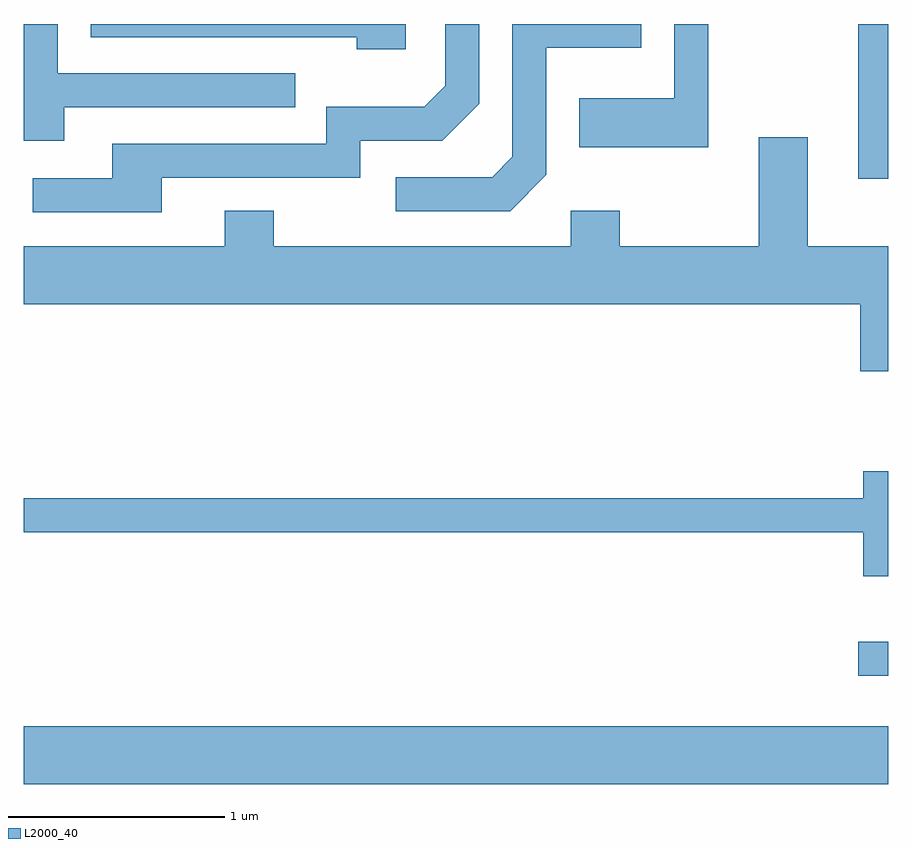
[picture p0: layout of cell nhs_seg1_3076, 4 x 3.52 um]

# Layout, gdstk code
import gdstk
lib = gdstk.Library(unit=1e-6, precision=1e-09)
def R(c, l, rs):  # rectangles x0, y0, x1, y1
    for r in rs: c.add(gdstk.rectangle(r[:2], r[2:], *l))
def P(c, l, *ps):  # polygons
    for p in ps: c.add(gdstk.Polygon(p, *l))
L2000_40 = (2000, 40)

nhs_seg1_3076 = lib.new_cell('nhs_seg1_3076')
R(nhs_seg1_3076, L2000_40, [(277.611,946.196,281.611,946.464), (281.473,946.696,281.611,946.854), (281.471,948.996,281.611,949.712)])
P(nhs_seg1_3076, L2000_40, [(278.249,949.001),(279.169,949.001),(279.169,949.171),(279.547,949.171),(279.719,949.344),(279.719,949.712),(279.561,949.712),(279.561,949.427),(279.464,949.329),(279.011,949.329),(279.011,949.159),(278.021,949.159),(278.021,948.999),(277.653,948.999),(277.653,948.841),(278.249,948.841)],
  [(277.799,949.326),(278.868,949.326),(278.868,949.484),(277.769,949.484),(277.769,949.712),(277.611,949.712),(277.611,949.171),(277.799,949.171)],
  [(280.029,949.014),(280.029,949.601),(280.469,949.601),(280.469,949.712),(279.871,949.712),(279.871,949.097),(279.779,949.004),(279.333,949.004),(279.333,948.846),(279.862,948.846)],
  [(280.779,949.712),(280.621,949.712),(280.621,949.369),(280.181,949.369),(280.181,949.141),(280.779,949.141)],
  [(279.379,949.712),(277.921,949.712),(277.921,949.651),(279.151,949.651),(279.151,949.596),(279.379,949.596)],
  [(281.611,948.684),(281.239,948.684),(281.239,949.189),(281.011,949.189),(281.011,948.684),(280.369,948.684),(280.369,948.849),(280.141,948.849),(280.141,948.684),(278.769,948.684),(278.769,948.849),(278.541,948.849),(278.541,948.684),(277.611,948.684),(277.611,948.416),(281.481,948.416),(281.481,948.106),(281.611,948.106)],
  [(281.611,947.644),(281.496,947.644),(281.496,947.519),(277.611,947.519),(277.611,947.361),(281.496,947.361),(281.496,947.156),(281.611,947.156)])

lib.write_gds('nhs_seg1_3076.gds')
